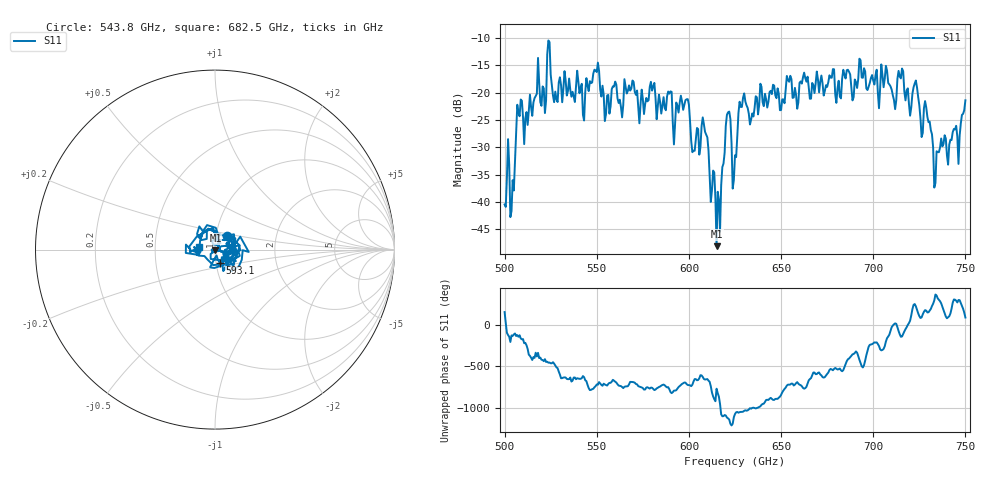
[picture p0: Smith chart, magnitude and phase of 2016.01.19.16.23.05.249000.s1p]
!Created with skrf (http://scikit-rf.org).
# GHz S RI R 50.0
!freq ReS11 ImS11
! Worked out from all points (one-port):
!   401 points, 500 GHz to 750 GHz, reference 50 ohm
!   lowest |S11| = -48.1 dB at 615 GHz (marker M1), VSWR 1.01, Z = 50.2 - j0.312 ohm
!   |S11| at or under -10 dB: start of sweep to end of sweep
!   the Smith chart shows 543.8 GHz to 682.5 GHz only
!   S11 on the Smith chart (normalised r, x): 543.8 GHz: 1.12, +0.17; 593.1 GHz: 1.04, -0.16; 682.5 GHz: 0.84, +0.03
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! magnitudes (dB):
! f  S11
! 500 GHz  -40.5
! 504.4 GHz  -36.0
! 508.1 GHz  -24.3
! 521.2 GHz  -19.2
! 524.4 GHz  -10.8
! 527.5 GHz  -19.8
! 531.2 GHz  -21.8
! 543.8 GHz  -19.9
! 550 GHz  -16.2
! 562.5 GHz  -21.3
! 580 GHz  -19.6
! 593.1 GHz  -21.8
! 593.8 GHz  -22.4
! 598.8 GHz  -21.2
! 602.5 GHz  -30.6
! 608.8 GHz  -27.2
! 615 GHz  -48.1
! 616.2 GHz  -39.6
! 621.2 GHz  -23.6
! 625 GHz  -31.5
! 628.8 GHz  -22.6
! 656.2 GHz  -21.0
! 682.5 GHz  -21.1
! 687.5 GHz  -16.7
! 718.8 GHz  -19.2
! 723.1 GHz  -17.8
! 734.4 GHz  -30.7
! 750 GHz  -21.4
